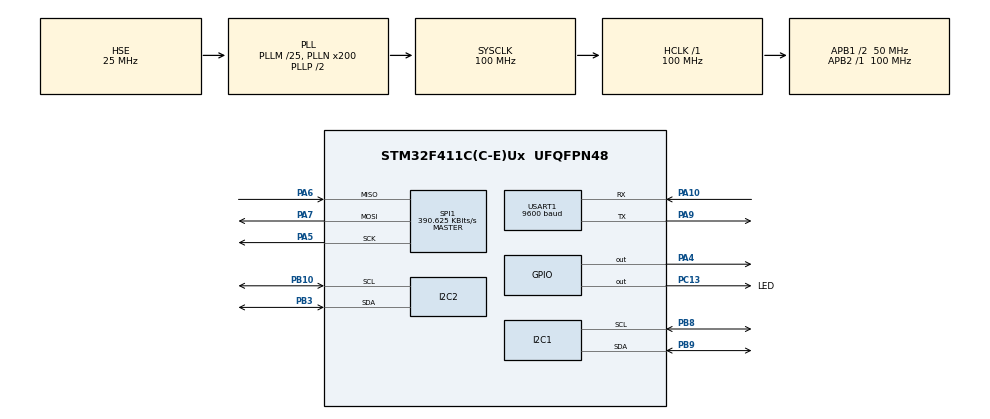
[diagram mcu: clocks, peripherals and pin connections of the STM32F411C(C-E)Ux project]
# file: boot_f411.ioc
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Mcu.Family=STM32F4
Mcu.Name=STM32F411C(C-E)Ux
Mcu.Package=UFQFPN48
NVIC.PriorityGroup=NVIC_PRIORITYGROUP_4
NVIC.USART1_IRQn=true\:0\:0\:false\:false\:true\:true\:true\:true
PA10.Mode=Asynchronous
PA10.Signal=USART1_RX
PA13.Mode=Serial_Wire
PA13.Signal=SYS_JTMS-SWDIO
PA14.Mode=Serial_Wire
PA14.Signal=SYS_JTCK-SWCLK
PA4.GPIO_Speed=GPIO_SPEED_FREQ_HIGH
PA4.PinState=GPIO_PIN_SET
PA4.Signal=GPIO_Output
PA5.Mode=Full_Duplex_Master
PA5.Signal=SPI1_SCK
PA6.Mode=Full_Duplex_Master
PA6.Signal=SPI1_MISO
PA7.Mode=Full_Duplex_Master
PA7.Signal=SPI1_MOSI
PA9.Mode=Asynchronous
PA9.Signal=USART1_TX
PB10.Mode=I2C
PB10.Signal=I2C2_SCL
PB3.Mode=I2C
PB3.Signal=I2C2_SDA
PB8.Mode=I2C
PB8.Signal=I2C1_SCL
PB9.Mode=I2C
PB9.Signal=I2C1_SDA
PC13-ANTI_TAMP.GPIO_Label=LED
PC13-ANTI_TAMP.PinState=GPIO_PIN_SET
PC13-ANTI_TAMP.Signal=GPIO_Output
PH0\ -\ OSC_IN.Mode=HSE-External-Oscillator
PH0\ -\ OSC_IN.Signal=RCC_OSC_IN
PH1\ -\ OSC_OUT.Mode=HSE-External-Oscillator
PH1\ -\ OSC_OUT.Signal=RCC_OSC_OUT
ProjectManager.HeapSize=0x200
ProjectManager.StackSize=0x400
ProjectManager.TargetToolchain=MDK-ARM V5
RCC.48MHZClocksFreq_Value=50000000
RCC.AHBFreq_Value=100000000
RCC.APB1CLKDivider=RCC_HCLK_DIV2
RCC.APB1Freq_Value=50000000
RCC.APB1TimFreq_Value=100000000
RCC.APB2Freq_Value=100000000
RCC.APB2TimFreq_Value=100000000
RCC.CortexFreq_Value=100000000
RCC.HCLKFreq_Value=100000000
RCC.HSE_VALUE=25000000
RCC.HSI_VALUE=16000000
RCC.LSE_VALUE=32768
RCC.PLLM=25
RCC.PLLN=200
RCC.PLLSourceVirtual=RCC_PLLSOURCE_HSE
RCC.SYSCLKFreq_VALUE=100000000
RCC.SYSCLKSource=RCC_SYSCLKSOURCE_PLLCLK
RCC.VCOOutputFreq_Value=200000000
SPI1.BaudRatePrescaler=SPI_BAUDRATEPRESCALER_256
SPI1.CalculateBaudRate=390.625 KBits/s
SPI1.Direction=SPI_DIRECTION_2LINES
SPI1.Mode=SPI_MODE_MASTER
SPI1.VirtualType=VM_MASTER
USART1.BaudRate=9600
USART1.VirtualMode=VM_ASYNC
board=custom

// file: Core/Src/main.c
/* USER CODE BEGIN Header */
/**
  ******************************************************************************
  * @file           : main.c
  * @brief          : Main program body
  ******************************************************************************
  * @attention
  *
  * Copyright (c) 2026 STMicroelectronics.
  * All rights reserved.
  *
  * This software is licensed under terms that can be found in the LICENSE file
  * in the root directory of this software component.
  * If no LICENSE file comes with this software, it is provided AS-IS.
  *
  ******************************************************************************
  */
/* USER CODE END Header */
#include "main.h"
#include "i2c.h"
#include "spi.h"
#include "usart.h"
#include "gpio.h"

/* USER CODE BEGIN Includes */
#include "bootloader.h"
#include "w25q64.h"
/* USER CODE END Includes */

/* USER CODE BEGIN PV */
OTA_MetaInfo_t incoming_meta = {0}; // 上位机发来的固件信息（16 字节）

volatile uint8_t meta_waiting = 0; // 固件信息接收中：1=是，0=否
uint32_t meta_start_tick = 0; // 固件信息接收起始时间（ms）

uint8_t rx_buffer[256] = {0}; // 串口接收缓冲区
uint32_t current_write_addr = 0x000000; // W25Q64 下次写入地址

// 任务编号：0=空闲，1=设置升级标志，2=准备接收固件信息，3=擦外部 Flash
// 4=搬运固件，5=写入固件数据，6=保存固件信息
volatile uint8_t cmd_flag = 0; // 待执行任务，由串口回调设置
volatile uint16_t rx_len = 0; // 本次接收长度（字节）

volatile uint8_t uart_error_pending = 0; // 1 表示需要恢复串口接收
volatile uint32_t uart_last_error = 0;  // 保留最近一次错误码，方便 Keil 观察

uint32_t led_tick = 0; // 小灯上次翻转的时间
/* USER CODE END PV */

void SystemClock_Config(void);

/* USER CODE BEGIN 0 */
uint32_t CRC32_Update(uint32_t crc, const uint8_t *data, uint32_t len)
{
    for (uint32_t i = 0; i < len; i++) // 依次处理这段数据的每个字节
    {
        crc ^= data[i]; // 将当前字节合入 CRC

        for (uint8_t bit = 0; bit < 8; bit++) // 一个字节包含 8 位，处理 8 次
        {
            if ((crc & 1U) != 0U) // 检查 CRC 当前最低位是否为 1
            {
                crc = (crc >> 1) ^ 0xEDB88320U; // 右移一位，再与算法常数异或
            }
            else
            {
                crc >>= 1; // 最低位为 0，只右移一位
            }
        }
    }

    return crc; // 返回处理完这段数据后的 CRC，供下一段继续使用
}
/* USER CODE END 0 */

int main(void)
{

  /* MCU Configuration--------------------------------------------------------*/

  /* Reset of all peripherals, Initializes the Flash interface and the Systick. */
  HAL_Init();

  /* Configure the system clock */
  SystemClock_Config();

  /* Initialize all configured peripherals */
  MX_GPIO_Init();
  MX_I2C1_Init();
  MX_I2C2_Init();
  MX_SPI1_Init();
  MX_USART1_UART_Init();
  /* USER CODE BEGIN 2 */
   HAL_UART_Transmit(&huart1, (uint8_t *)"Bootloader ready!\r\n", 19, 1000);

  OTA_MetaInfo_t current_meta; // 启动时读取的 EEPROM 固件信息
  Bootloader_ReadMeta(&current_meta);

  if (current_meta.ota_flag == OTA_FLAG_UPDATE)
  {
      HAL_UART_Transmit(&huart1, (uint8_t *)"Wait for OTA update...\r\n", 24, 1000);
  }
  else
  {
      HAL_UART_Transmit(&huart1, (uint8_t *)"Normal boot, try jump...\r\n", 26, 1000);
      Bootloader_JumpToApp(APP_FLASH_ADDR);
  }

  HAL_UARTEx_ReceiveToIdle_IT(&huart1, rx_buffer, sizeof(rx_buffer));
  /* USER CODE END 2 */

  /* Infinite loop */
  /* USER CODE BEGIN WHILE */
  while (1)
  {
    if (uart_error_pending)
    {
        uart_error_pending = 0; // 先清请求，新错误仍可再次置 1

        HAL_UART_AbortReceive(&huart1);    // 结束原来的接收
        __HAL_UART_CLEAR_OREFLAG(&huart1); // 清除溢出等接收错误状态

        meta_waiting = 0; // 取消未完成的 16 字节固件信息接收
        cmd_flag = 0;    // 取消尚未执行的接收任务
        rx_len = 0;

        if (HAL_UARTEx_ReceiveToIdle_IT(&huart1, rx_buffer,sizeof(rx_buffer)) != HAL_OK)
        {
            uart_error_pending = 1; // 开启失败，下一轮再次尝试恢复
        }
    }
    /* 距上次翻转达到 500 ms 才切换小灯，其余时间继续处理串口任务。 */
    if ((uint32_t)(HAL_GetTick() - led_tick) >= 500U)
    {
        led_tick = HAL_GetTick();
        HAL_GPIO_TogglePin(LED_GPIO_Port, LED_Pin);
    }

    if (meta_waiting && (uint32_t)(HAL_GetTick() - meta_start_tick) >= 10000U)
    {
        HAL_UART_AbortReceive(&huart1);
        meta_waiting = 0;

     if (cmd_flag != 6)
     {
         uint8_t ack = 'N'; // 失败应答
         HAL_UARTEx_ReceiveToIdle_IT(&huart1, rx_buffer, sizeof(rx_buffer));
         HAL_UART_Transmit(&huart1, &ack, 1, 100);
     }
    }
    switch (cmd_flag)
    {
        case 1: // 设置升级标志
            {
                OTA_MetaInfo_t meta = {0}; // 读取原记录，仅修改升级标志
                cmd_flag = 0;

                Bootloader_ReadMeta(&meta);
                meta.ota_flag = OTA_FLAG_UPDATE;
                Bootloader_WriteMeta(&meta);

                HAL_UART_Transmit(&huart1, (uint8_t *)"Set Flag OK!\r\n", 14, 100);
                break;
            }

        case 2: // 从上位机读取固件信息,填进结构体
            {
                uint8_t ack = 'h'; // 小写 h：准备接收固件信息
                cmd_flag = 0;

                meta_start_tick = HAL_GetTick();
                meta_waiting = 1;

                /* 将结构体起点作为字节缓冲区：收到的 16 字节依次填入四个字段。 */
                if (HAL_UART_Receive_IT(&huart1, (uint8_t *)&incoming_meta, sizeof(incoming_meta)) != HAL_OK)
                {
                    meta_waiting = 0;
                    ack = 'N';
                    HAL_UARTEx_ReceiveToIdle_IT(&huart1, rx_buffer, sizeof(rx_buffer));
                }

                HAL_UART_Transmit(&huart1, &ack, 1, 100);
                break;
            }

        case 3: // 擦除w25q64
            {
                // 沿用 16 KB 暂存区，后续扩容时同步修改上限和擦除范围
                // addr：扇区地址，步长 4 KB
                for (uint32_t addr = 0; addr < OTA_STAGING_SIZE; addr += 0x1000)
                {
                    W25Q64_Erase_Sector(addr);
                }
                current_write_addr = 0x000000;

                // 擦除调用结束后应答，未校验结果
                uint8_t ack = 'E'; // 擦除流程应答
                HAL_UART_Transmit(&huart1, &ack, 1, 100);
                cmd_flag = 0;
            }
            break;

        case 4: // 将外部固件搬运到 App 分区
            {
                OTA_MetaInfo_t meta; // EEPROM 固件信息
                Bootloader_ReadMeta(&meta);

                // 先检查暂存区容量及 4 字节对齐，再校验外部固件 CRC
                if (meta.firmware_size < 8U || meta.firmware_size > OTA_STAGING_SIZE || meta.firmware_size % 4U != 0U)
                {
                    cmd_flag = 0;
                    break;
                }
                uint8_t move_buf[256];                      // 每次读回最多256字节
                uint32_t total_size = meta.firmware_size;   // 固件总字节数
                uint32_t check_addr = 0;                    // 外部Flash读取地址
                uint32_t crc = 0xFFFFFFFFU;                 // CRC32初始值
               while (check_addr < total_size)
                {
                    uint16_t chunk = 256; // 默认读取256字节

                    if (total_size - check_addr < 256)
                    {
                        chunk = total_size - check_addr; // 最后一块只读剩余字节
                    }

                    W25Q64_Read_Data(check_addr, move_buf, chunk);

                    crc = CRC32_Update(crc, move_buf, chunk); // 接着计算本次读回的数据

                    check_addr += chunk; // 下一块的起始地址
                }
                crc ^= 0xFFFFFFFFU; // 整份固件处理完，最终取反

                if (crc != meta.firmware_crc32)
                {
                    HAL_UART_Transmit(&huart1, (uint8_t *)"CRC check failed\r\n", 18, 1000);
                    cmd_flag = 0;
                    break; // 退出当前case，不执行下面的擦除
                }

                /* F411 按扇区擦除 App；失败时退出，不继续搬运。 */
                if (Bootloader_EraseApp() != HAL_OK)
                {
                    cmd_flag = 0;
                    break; // 擦除失败，退出当前 case，不继续搬运
                }

                uint32_t src_addr = 0x000000; // W25Q64 读取地址
                uint32_t dst_addr = APP_FLASH_ADDR; // 内部 Flash 写入地址
                 // 固件总长度（字节）
                uint32_t copied = 0; // 累计搬运字节数，未校验结果
                HAL_StatusTypeDef write_result = HAL_OK;

                while (copied < total_size)
                {
                    uint16_t chunk = (total_size - copied > 256) ? 256 : (total_size - copied); // 本轮搬运字节数，最多 256
                    W25Q64_Read_Data(src_addr, move_buf, chunk);
                    write_result = Bootloader_WriteFlash(dst_addr, move_buf, chunk);
                    if (write_result != HAL_OK)
                    {
                        break; // 退出 while，停止搬运
                    }
                    src_addr += chunk;
                    dst_addr += chunk;
                    copied   += chunk;
                }
                if (write_result != HAL_OK)
                {
                    cmd_flag = 0;
                    break; // 退出当前 case，跳过后续处理
                }
                crc = 0xFFFFFFFFU; // 开始新的 CRC 计算，重新设置初始值
                const uint8_t *app_data = (const uint8_t *)APP_FLASH_ADDR; // 指向 APP 起始地址；app_data[i] 读取内部 Flash 的第 i 个字节
                crc = CRC32_Update(crc, app_data, total_size); // 计算内部 App 的 CRC

                crc ^= 0xFFFFFFFFU; // 全部字节处理完，最终取反
                if (crc != meta.firmware_crc32)
                {
                    HAL_UART_Transmit(&huart1, (uint8_t *)"APP CRC failed\r\n", 16, 1000);
                    cmd_flag = 0;
                    break; // 退出当前 case，不清升级标志，也不执行后面的复位
                }
                // 搬运后清标志
                meta.ota_flag = OTA_FLAG_NORMAL;
                if(Bootloader_WriteMeta(&meta) != HAL_OK)
                {
                    HAL_UART_Transmit(&huart1, (uint8_t *)"Meta save failed\r\n", 18, 1000);
                    cmd_flag = 0;
                    break; // 退出 switch，不执行后面的复位
                }

                cmd_flag = 0;
                HAL_Delay(100);
                NVIC_SystemReset();
            }
            break;
        case 5: // 写入收到的固件数据
            {
                W25Q64_Write_Page(current_write_addr, rx_buffer, rx_len);
                current_write_addr += rx_len;

                // 写入调用结束后应答，未读回校验
                uint8_t ack = '0'; // 数据应答：字符 '0'
                HAL_UART_Transmit(&huart1, &ack, 1, 100);
                cmd_flag = 0;
            }
            break;

        case 6: // 保存固件信息
            {
                uint8_t ack = 'N'; // 失败应答
                cmd_flag = 0;

                if (incoming_meta.ota_flag == OTA_FLAG_UPDATE && incoming_meta.firmware_size >= 8U && incoming_meta.firmware_size <= OTA_STAGING_SIZE && incoming_meta.firmware_size % 4U == 0U)
                {
                    HAL_StatusTypeDef result = Bootloader_WriteMeta(&incoming_meta); // 保存及读回校验结果

                    if (result == HAL_OK)
                    {
                        ack = 'H';
                    }
                }

                HAL_UARTEx_ReceiveToIdle_IT(&huart1, rx_buffer, sizeof(rx_buffer));
                HAL_UART_Transmit(&huart1, &ack, 1, 100);
                break;
            }
        default:
            break;
    }

    /* USER CODE END WHILE */

  }
}

void SystemClock_Config(void)
{
  RCC_OscInitTypeDef RCC_OscInitStruct = {0};
  RCC_ClkInitTypeDef RCC_ClkInitStruct = {0};

  /** Configure the main internal regulator output voltage
  */
  __HAL_RCC_PWR_CLK_ENABLE();
  __HAL_PWR_VOLTAGESCALING_CONFIG(PWR_REGULATOR_VOLTAGE_SCALE1);

  /** Initializes the RCC Oscillators according to the specified parameters
  * in the RCC_OscInitTypeDef structure.
  */
  RCC_OscInitStruct.OscillatorType = RCC_OSCILLATORTYPE_HSE;
  RCC_OscInitStruct.HSEState = RCC_HSE_ON;
  RCC_OscInitStruct.PLL.PLLState = RCC_PLL_ON;
  RCC_OscInitStruct.PLL.PLLSource = RCC_PLLSOURCE_HSE;
  RCC_OscInitStruct.PLL.PLLM = 25;
  RCC_OscInitStruct.PLL.PLLN = 200;
  RCC_OscInitStruct.PLL.PLLP = RCC_PLLP_DIV2;
  RCC_OscInitStruct.PLL.PLLQ = 4;
  if (HAL_RCC_OscConfig(&RCC_OscInitStruct) != HAL_OK)
  {
    Error_Handler();
  }

  /** Initializes the CPU, AHB and APB buses clocks
  */
  RCC_ClkInitStruct.ClockType = RCC_CLOCKTYPE_HCLK|RCC_CLOCKTYPE_SYSCLK
                              |RCC_CLOCKTYPE_PCLK1|RCC_CLOCKTYPE_PCLK2;
  RCC_ClkInitStruct.SYSCLKSource = RCC_SYSCLKSOURCE_PLLCLK;
  RCC_ClkInitStruct.AHBCLKDivider = RCC_SYSCLK_DIV1;
  RCC_ClkInitStruct.APB1CLKDivider = RCC_HCLK_DIV2;
  RCC_ClkInitStruct.APB2CLKDivider = RCC_HCLK_DIV1;

  if (HAL_RCC_ClockConfig(&RCC_ClkInitStruct, FLASH_LATENCY_3) != HAL_OK)
  {
    Error_Handler();
  }
}

/* USER CODE BEGIN 4 */
// huart：串口句柄；Size：本次接收字节数
void HAL_UARTEx_RxEventCallback(UART_HandleTypeDef *huart, uint16_t Size)
{
    if (huart->Instance == USART1)
    {
        if (Size <= 3 && rx_buffer[0] == 'U')
        {
            cmd_flag = 1; // 请求升级，提交设置升级标志任务
        }
        else if (Size == 1 && rx_buffer[0] == 'H')
        {
            cmd_flag = 2; // 准备接收 16 字节固件信息
            return;       // 主循环切换到定长接收，不在这里重新开启空闲接收
        }
        else if (Size <= 3 && rx_buffer[0] == 'E')
        {
            cmd_flag = 3; // 提交擦除任务
        }
        else if (Size <= 3 && rx_buffer[0] == 'C')
        {
            cmd_flag = 4; // 提交搬运任务
        }
        else if (Size == 1 && rx_buffer[0] == 'V')
        {
            // 收到版本查询，不做任何操作
        }
        else
        {
            rx_len = Size; // 本次接收长度，可能不足一包
            cmd_flag = 5;  // 提交写入任务，缓冲区仍被接收复用
        }

        HAL_UARTEx_ReceiveToIdle_IT(&huart1, rx_buffer, sizeof(rx_buffer));
    }
}
// 固件信息接收完成，提交保存任务
void HAL_UART_RxCpltCallback(UART_HandleTypeDef *huart)
{
    if (huart->Instance == USART1 && meta_waiting)
    {
        meta_waiting = 0;
        cmd_flag = 6;
    }
}

void HAL_UART_ErrorCallback(UART_HandleTypeDef *huart)
{
    if (huart->Instance == USART1)
    {
        uart_last_error = huart->ErrorCode; // 保存 HAL 记录的错误码
        uart_error_pending = 1;             // 通知主循环恢复接收
    }
}
/* USER CODE END 4 */

void Error_Handler(void)
{
  __disable_irq();
  while (1)
  {
  }
}
